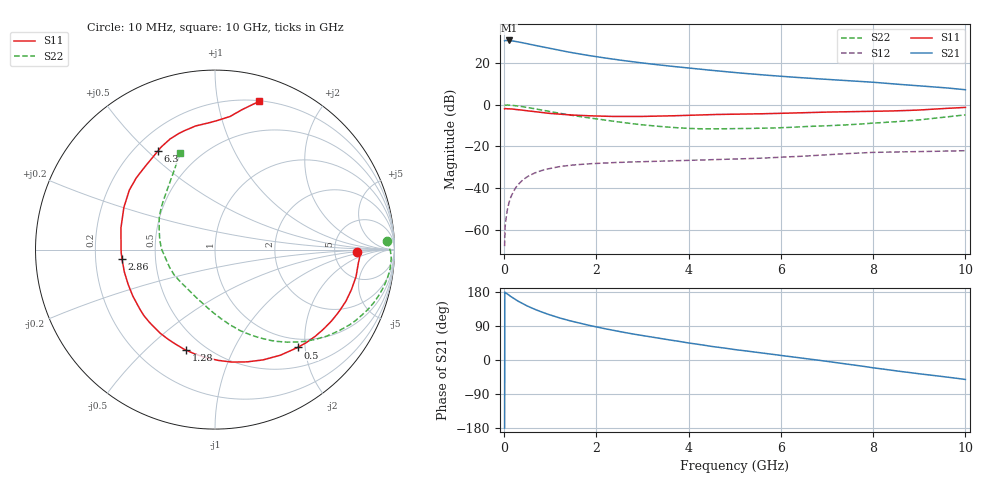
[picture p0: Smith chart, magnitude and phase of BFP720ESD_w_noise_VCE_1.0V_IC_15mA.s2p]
! Infineon Technologies  Discrete & RF Semiconductors
! BFP720ESD
! VCE =  1.0 V,  IC =  15 mA
! Common Emitter S-Parameters:  Jan 2016
# GHz  S  MA  R  50
!  f  S11  S21  S12  S22
! GHz  MAG  ANG  MAG  ANG  MAG  ANG  MAG  ANG
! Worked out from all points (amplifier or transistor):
!   233 points, 10 MHz to 10 GHz, reference 50 ohm
!   highest |S21| = 30.9 dB at 100 MHz (marker M1)
!   |S21| within 3 dB of that: start of sweep to 806.6 MHz
!   unconditionally stable (mu >= 1): 4.348 GHz to 9.245 GHz
!   at 200 MHz: K = 0.12, MSG = 36.2 dB, |S12| = -41.8 dB
!   at 1.74 GHz: K = 0.51, MSG = 26.3 dB, |S12| = -28.5 dB
!   at 10 GHz: K = 0.78, MSG = 14.6 dB, |S12| = -22.1 dB
!   lowest NFmin = 0.81 dB at 450 MHz
!   S11 on the Smith chart (normalised r, x): 10 MHz: 8.68, -0.52; 500 MHz: 0.83, -1.85; 1.28 GHz: 0.40, -0.67; 2.86 GHz: 0.32, -0.05; 6.3 GHz: 0.29, +0.54; 10 GHz: 0.21, +1.32
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0.01  0.794 -0.8  34.3 -179.7  0.0004 108.6  0.9618 2.9
0.025  0.8075 -2.7  34.8 177.9  0.0013 86.7  0.9784 -0.9
0.1  0.8001 -10.9  34.96 171.6  0.0042 83.7  0.9816 -6.2
0.2  0.784 -21.5  33.88 163.0  0.0081 78.2  0.9613 -12.7
0.3  0.7612 -31.5  32.38 155.4  0.0119 73.0  0.9321 -18.6
0.4  0.7385 -40.8  30.78 148.7  0.0154 68.4  0.897 -23.9
0.5  0.7138 -49.8  29.17 142.6  0.0185 63.9  0.8608 -29.0
0.62  0.6866 -59.8  27.38 136.0  0.0218 59.1  0.8156 -34.3
0.82  0.6465 -75.4  24.58 126.4  0.0264 52.2  0.7442 -42.4
1  0.6174 -88.4  22.41 118.7  0.0297 47.1  0.6837 -48.9
1.28  0.5829 -106.0  19.51 108.3  0.0335 40.5  0.6026 -57.5
1.42  0.5687 -113.9  18.22 103.7  0.0349 37.9  0.5671 -61.3
1.68  0.5509 -127.0  16.25 95.9  0.037 33.7  0.5123 -67.6
2.2  0.5269 -149.7  13.2 82.2  0.04 27.7  0.4255 -79.0
2.86  0.5206 -174.0  10.51 67.3  0.0424 22.8  0.342 -93.6
3.4  0.5322 170.0  8.936 56.6  0.0439 20.5  0.2991 -105.9
4  0.5596 155.1  7.615 44.9  0.046 18.7  0.2701 -121.7
5.1  0.5948 136.2  5.796 26.1  0.05 16.1  0.2678 -150.3
6.3  0.6348 120.1  4.565 7.5  0.0567 14.0  0.29 -176.7
6.8  0.6563 114.4  4.195 -0.3  0.0608 12.4  0.3058 173.6
8.4  0.7081 92.4  3.188 -27.1  0.0731 0.4  0.3846 140.4
10  0.8621 73.3  2.29 -51.4  0.0786 -10.4  0.5715 110.0
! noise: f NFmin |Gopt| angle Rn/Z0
0.45  0.81  0.12  1  0.13
0.9  0.83  0.12  7  0.12
1.9  0.85  0.1  5  0.13
2.4  0.86  0.09  4  0.14
5.5  1.05  0.14  -111  0.11
10  1.42  0.51  -89  0.39
